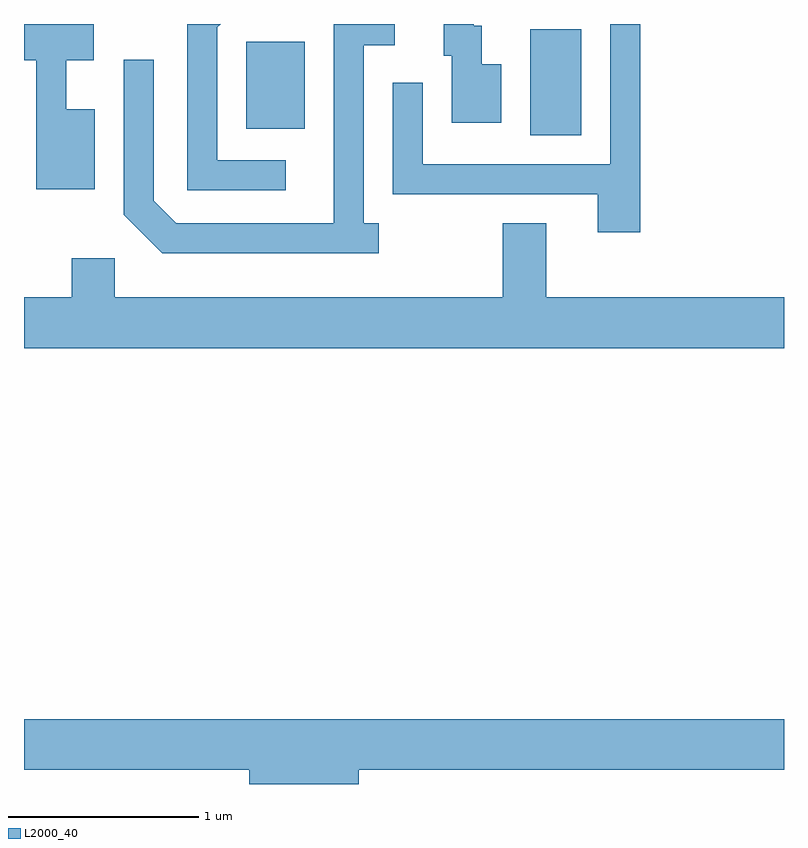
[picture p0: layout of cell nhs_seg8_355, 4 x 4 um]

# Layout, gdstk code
import gdstk
lib = gdstk.Library(unit=1e-6, precision=1e-09)
def R(c, l, rs):  # rectangles x0, y0, x1, y1
    for r in rs: c.add(gdstk.rectangle(r[:2], r[2:], *l))
def P(c, l, *ps):  # polygons
    for p in ps: c.add(gdstk.Polygon(p, *l))
L2000_40 = (2000, 40)

nhs_seg8_355 = lib.new_cell('nhs_seg8_355')
R(nhs_seg8_355, L2000_40, [(198.276,1839.756,198.544,1840.314), (196.781,1839.791,197.089,1840.249)])
P(nhs_seg8_355, L2000_40, [(198.854,1840.342),(198.696,1840.342),(198.696,1839.604),(197.709,1839.604),(197.709,1840.033),(197.551,1840.033),(197.551,1839.446),(198.631,1839.446),(198.631,1839.246),(198.854,1839.246)],
  [(195.984,1839.894),(195.834,1839.894),(195.834,1840.151),(195.979,1840.151),(195.979,1840.342),(195.611,1840.342),(195.611,1840.151),(195.676,1840.151),(195.676,1839.471),(195.984,1839.471)],
  [(197.478,1839.294),(197.399,1839.294),(197.399,1840.231),(197.563,1840.231),(197.563,1840.342),(197.241,1840.342),(197.241,1839.294),(196.412,1839.294),(196.294,1839.412),(196.294,1840.153),(196.136,1840.153),(196.136,1839.339),(196.339,1839.136),(197.478,1839.136)],
  [(196.988,1839.624),(196.629,1839.624),(196.629,1840.324),(196.647,1840.342),(196.471,1840.342),(196.471,1839.466),(196.988,1839.466)],
  [(198.124,1840.129),(198.019,1840.129),(198.019,1840.334),(197.979,1840.334),(197.979,1840.342),(197.821,1840.342),(197.821,1840.176),(197.861,1840.176),(197.861,1839.821),(198.124,1839.821)],
  [(199.611,1838.904),(198.359,1838.904),(198.359,1839.294),(198.131,1839.294),(198.131,1838.904),(196.089,1838.904),(196.089,1839.109),(195.861,1839.109),(195.861,1838.904),(195.611,1838.904),(195.611,1838.636),(199.611,1838.636)],
  [(197.374,1836.416),(199.611,1836.416),(199.611,1836.684),(195.611,1836.684),(195.611,1836.416),(196.796,1836.416),(196.796,1836.342),(197.374,1836.342)])

lib.write_gds('nhs_seg8_355.gds')
